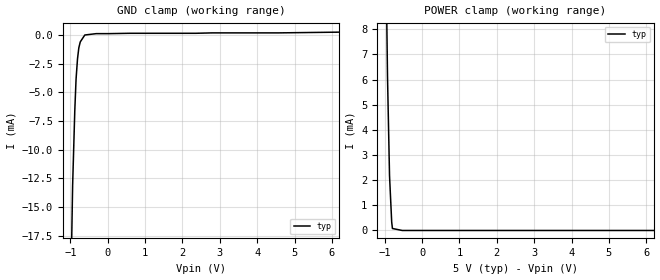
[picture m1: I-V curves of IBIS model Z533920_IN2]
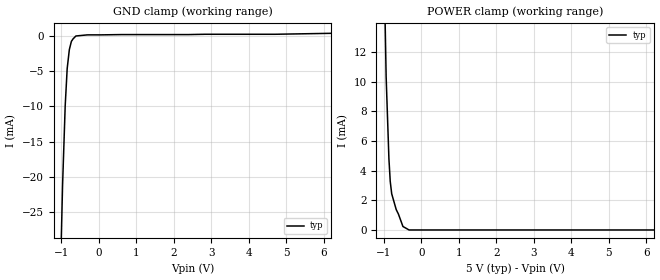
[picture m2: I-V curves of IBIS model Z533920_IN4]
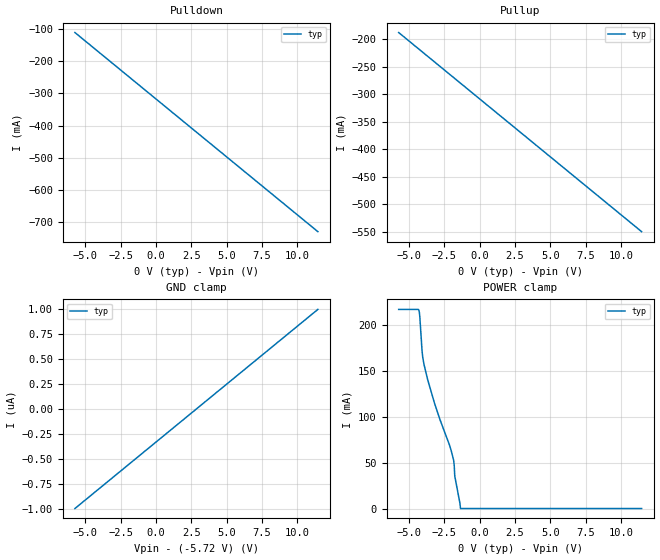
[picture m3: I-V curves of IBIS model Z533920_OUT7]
| YOU ARE ONLY AUTHORIZED TO USE THIS SOFTWARE
| ACCORDING TO LICENSOR'S LICENSE RESTRICTIONS.
[IBIS Ver] 3.1
[File Name] mc10el58d_pecl.ibs
[File Rev] 2.0
[Source] Measured and created by ICX Technology
[Date] Friday 7/14/00 9:07:50 AM
[Copyright]
| (C) COPYRIGHT 1993-2000
| MENTOR GRAPHICS CORPORATION
| ICX STANDARD LIBRARY, ICX PROJECT MODELING,
| ICX CUSTOM MODELING, ICX VENDOR MODEL
| ALL RIGHTS RESERVED.
| THE FOLLOWING ARE TRADEMARKS OR SERVICE MARKS OF
| MENTOR GRAPHICS CORPORATION:ICX (R), ICX STANDARD
| LIBRARY(R), ICX PROJECT MODELING(R), ICX CUSTOM
| MODELING(R), qualityIBIS(TM), MODELVIEWER(TM),
| AND MODELEDITOR(TM)
| ALL COPIES OF SOFTWARE, INCLUDING BUT NOT LIMITED TO
| ANY MODIFICATIONS, ENHANCEMENTS OR DERIVATIVE WORKS,
| MUST CONTAIN ALL MENTOR GRAPHICS CORPORATION'S
| NOTICES AND LEGENDS, INCLUDING THOSE EMBEDDED IN
| SOFTWARE AND THOSE AFFIXED TO SOFTWARE MEDIUM
| AND CONTAINER, AS RECEIVED FROM MENTOR GRAPHICS
| CORPORATION.
|  ZAP Model Builder 2.7
[Component] MC10EL58D_PECL
[Manufacturer] OnSemiconductor
[Package]
| variable   typ   min   max
R_pkg  .152ohms NA NA
L_pkg  2.714nH NA NA
C_pkg  .364pF NA NA
[Pin] signal_name  model_name  R_pin  L_pin C_pin
1 NC NC .154 2.924n .374p
2 DA Z533920_IN2 .15 2.504n .354p
3 DB Z533920_IN2 .15 2.504n .354p
4 SEL Z533920_IN4 .154 2.924n .374p
5 VEE GND .154 2.924n .374p
6 _Q Z533920_OUT7 .15 2.504n .354p
7 Q Z533920_OUT7 .15 2.504n .354p
8 VCC POWER .154 2.924n .374p
| Models and submodels in the file (3): Z533920_IN2 (Input_ECL), Z533920_IN4 (Input_ECL), Z533920_OUT7 (Output_ECL)
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| (C) COPYRIGHT 1993-2000
| MENTOR GRAPHICS CORPORATION
| ICX STANDARD LIBRARY, ICX PROJECT MODELING,
| ICX CUSTOM MODELING, ICX VENDOR MODEL
| ALL RIGHTS RESERVED.
| THE FOLLOWING ARE TRADEMARKS OR SERVICE MARKS OF
| MENTOR GRAPHICS CORPORATION:ICX (R), ICX STANDARD
| LIBRARY(R), ICX PROJECT MODELING(R), ICX CUSTOM
| MODELING(R), qualityIBIS(TM), MODELVIEWER(TM),
| AND MODELEDITOR(TM)
| ALL COPIES OF SOFTWARE, INCLUDING BUT NOT LIMITED TO
| ANY MODIFICATIONS, ENHANCEMENTS OR DERIVATIVE WORKS,
| MUST CONTAIN ALL MENTOR GRAPHICS CORPORATION'S
| NOTICES AND LEGENDS, INCLUDING THOSE EMBEDDED IN
| SOFTWARE AND THOSE AFFIXED TO SOFTWARE MEDIUM
| AND CONTAINER, AS RECEIVED FROM MENTOR GRAPHICS
| CORPORATION.
| Model Application Version 1.89 2/18/99.
[Model] Z533920_IN2
Model_type Input_ECL
Vinl = 3.520V
Vinh = 3.830V
C_comp 4.000pF NA NA
| variable typ   min   max
[Voltage Range] 5.000V NA NA
[GND Clamp Reference] 0.000V NA NA
[POWER Clamp Reference] 5.000V NA NA
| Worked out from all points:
|   GND clamp passes 1 mA (typ) near -0.76 V on its own axis
|   POWER clamp passes 1 mA (typ) near -0.83 V on its own axis
[GND Clamp]
-5V       -1.27A     NA         NA
-1.05V    -34.51mA   NA         NA
-936.5mV  -13.11mA   NA         NA
-879mV    -6.622mA   NA         NA
-844.6mV  -3.843mA   NA         NA
-805.9mV  -2.077mA   NA         NA
-770.5mV  -1.115mA   NA         NA
-731.8mV  -601.1uA   NA         NA
-610.3mV  -1.727uA   NA         NA
-305.2mV  117.2uA    NA         NA
4.571V    182.8uA    NA         NA
10V       398.4uA    NA         NA
[POWER Clamp]
-5V       1.384A     NA         NA
-1.209V   57.16mA    NA         NA
-1.098V   29.73mA    NA         NA
-1.015V   16.65mA    NA         NA
-923mV    6.116mA    NA         NA
-869mV    2.183mA    NA         NA
-811mV    337.5uA    NA         NA
-791mV    78.94uA    NA         NA
-527.3mV  0A         NA         NA
10V       0A         NA         NA
| (C) COPYRIGHT 1993-2000
| MENTOR GRAPHICS CORPORATION
| ICX STANDARD LIBRARY, ICX PROJECT MODELING,
| ICX CUSTOM MODELING, ICX VENDOR MODEL
| ALL RIGHTS RESERVED.
| THE FOLLOWING ARE TRADEMARKS OR SERVICE MARKS OF
| MENTOR GRAPHICS CORPORATION:ICX (R), ICX STANDARD
| LIBRARY(R), ICX PROJECT MODELING(R), ICX CUSTOM
| MODELING(R), qualityIBIS(TM), MODELVIEWER(TM),
| AND MODELEDITOR(TM)
| ALL COPIES OF SOFTWARE, INCLUDING BUT NOT LIMITED TO
| ANY MODIFICATIONS, ENHANCEMENTS OR DERIVATIVE WORKS,
| MUST CONTAIN ALL MENTOR GRAPHICS CORPORATION'S
| NOTICES AND LEGENDS, INCLUDING THOSE EMBEDDED IN
| SOFTWARE AND THOSE AFFIXED TO SOFTWARE MEDIUM
| AND CONTAINER, AS RECEIVED FROM MENTOR GRAPHICS
| CORPORATION.
| Model Application Version 1.89 2/18/99.
[Model] Z533920_IN4
Model_type Input_ECL
Vinl = 3.520V
Vinh = 3.830V
C_comp 4.000pF NA NA
| variable typ   min   max
[Voltage Range] 5.000V NA NA
[GND Clamp Reference] 0.000V NA NA
[POWER Clamp Reference] 5.000V NA NA
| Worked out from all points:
|   GND clamp passes 1 mA (typ) near -0.74 V on its own axis
|   POWER clamp passes 1 mA (typ) near -0.60 V on its own axis
[GND Clamp]
-5V       -1.581A    NA         NA
-1.03V    -35.34mA   NA         NA
-966.8mV  -21.17mA   NA         NA
-896.6mV  -9.929mA   NA         NA
-843.8mV  -4.664mA   NA         NA
-786.2mV  -1.979mA   NA         NA
-731.4mV  -807.1uA   NA         NA
-610.2mV  -45.41uA   NA         NA
-305.1mV  109uA      NA         NA
4.7V      195.2uA    NA         NA
10V       670.5uA    NA         NA
[POWER Clamp]
-5V       1.242A     NA         NA
-1.211V   55.72mA    NA         NA
-1.113V   34.35mA    NA         NA
-938mV    10.33mA    NA         NA
-864mV    4.807mA    NA         NA
-829mV    3.283mA    NA         NA
-790mV    2.446mA    NA         NA
-669mV    1.373mA    NA         NA
-611mV    1.076mA    NA         NA
-490mV    234uA      NA         NA
-326.7mV  0A         NA         NA
10V       0A         NA         NA
| (C) COPYRIGHT 1993-2000
| MENTOR GRAPHICS CORPORATION
| ICX STANDARD LIBRARY, ICX PROJECT MODELING,
| ICX CUSTOM MODELING, ICX VENDOR MODEL
| ALL RIGHTS RESERVED.
| THE FOLLOWING ARE TRADEMARKS OR SERVICE MARKS OF
| MENTOR GRAPHICS CORPORATION:ICX (R), ICX STANDARD
| LIBRARY(R), ICX PROJECT MODELING(R), ICX CUSTOM
| MODELING(R), qualityIBIS(TM), MODELVIEWER(TM),
| AND MODELEDITOR(TM)
| ALL COPIES OF SOFTWARE, INCLUDING BUT NOT LIMITED TO
| ANY MODIFICATIONS, ENHANCEMENTS OR DERIVATIVE WORKS,
| MUST CONTAIN ALL MENTOR GRAPHICS CORPORATION'S
| NOTICES AND LEGENDS, INCLUDING THOSE EMBEDDED IN
| SOFTWARE AND THOSE AFFIXED TO SOFTWARE MEDIUM
| AND CONTAINER, AS RECEIVED FROM MENTOR GRAPHICS
| CORPORATION.
| Model Application Version 1.89 2/18/99.
[Model] Z533920_OUT7
Model_type Output_ECL
Vref=0.000V
Rref=500.0Mohms
Cref=50.00pF
Vmeas=3.620V
C_comp 8.000pF NA NA
| variable typ   min   max
[Voltage Range] -5.720V NA NA
[POWER Clamp Reference] 0.000V NA NA
[Pullup Reference] 0.000V NA NA
[Pulldown Reference] 0.000V NA NA
[GND Clamp Reference] -5.720V NA NA
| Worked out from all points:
|   POWER clamp passes 1 mA (typ) near -1.36 V on its own axis
[GND Clamp]
-5.72V    -1uA       NA         NA
11.44V    1uA        NA         NA
[Pulldown]
-5.72V    -111.5mA   NA         NA
11.44V    -729.3mA   NA         NA
[Pullup]
-5.72V    -188.2mA   NA         NA
11.44V    -549.5mA   NA         NA
[POWER Clamp]
-5.72V    216.7mA    NA         NA
-4.296V   216mA      NA         NA
-4.227V   208.8mA    NA         NA
-4.072V   172.3mA    NA         NA
-3.931V   156.8mA    NA         NA
-3.198V   115.1mA    NA         NA
-2.129V   69.04mA    NA         NA
-1.839V   52.64mA    NA         NA
-1.797V   47.03mA    NA         NA
-1.758V   35.35mA    NA         NA
-1.353V   0A         NA         NA
11.44V    0A         NA         NA
[Ramp]
| variable typ min max
dV/dt_r 2.982/820.3p NA NA
dV/dt_f 2.982/218.3p NA NA
R_load = 500.0Ohms
